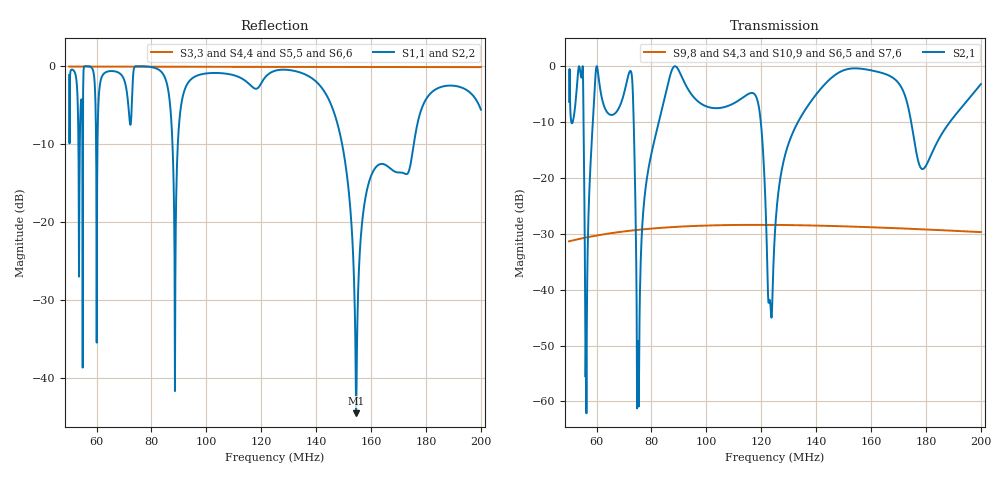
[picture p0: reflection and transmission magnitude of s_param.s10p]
! TOUCHSTONE file generated by CST MICROWAVE STUDIO
! Date and time: Mon Sep  2 13:02:55 2024
! Project name: MRI Body Coil 60cm 3T w phantom - wo meshrefiner - FD - Open Boundaries Add Space.cst
! Parameters = {C=17.8; C_tune_1=17.8; C_tune_2=17.8; Cs=9.73; L_tune=0; R_tune=40; Rs=1.09121; phantom_x_max=85; phantom_x_min=-85; phantom_y_max=-1.508; phantom_y_min=-31.508; phantom_z_max=360; phantom_z_min=240; state=21; state_2=8}
! Header version: 2024
! Port assignment regex: !\s*Touchstone port\s*([0-9]+)\s*=\s*(CST MWS port|CST DES external port|CST DES block port)\s*(.+)\s* \(\"(.*)\"\)(\s*mode\s*([0-9]+))?.*
! Touchstone port assignment:
! Touchstone port 1 = CST MWS port 1 ("")
! Touchstone port 2 = CST MWS port 5 ("")
! Touchstone port 3 = CST MWS port 10 ("")
! Touchstone port 4 = CST MWS port 11 ("")
! Touchstone port 5 = CST MWS port 12 ("")
! Touchstone port 6 = CST MWS port 13 ("")
! Touchstone port 7 = CST MWS port 14 ("")
! Touchstone port 8 = CST MWS port 15 ("")
! Touchstone port 9 = CST MWS port 16 ("")
! Touchstone port 10 = CST MWS port 17 ("")
# MHz S RI R 50
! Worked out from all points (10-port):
!   1001 points, 50 MHz to 200 MHz, reference 50 ohm
!   strongest paths, dB at 50 MHz, 87.5 MHz, 125 MHz, 162.5 MHz, 200 MHz:
!     S2,1: -6.4, -0.6, -29.6, -1.0, -3.2
!     S9,8: -31.3, -28.8, -28.4, -28.9, -29.7
!     S4,3: -31.3, -28.8, -28.4, -28.9, -29.7
!     S10,9: -31.4, -28.8, -28.4, -28.9, -29.7
!     S6,5: -31.4, -28.8, -28.4, -28.9, -29.7
!     S7,6: -31.4, -28.8, -28.4, -28.9, -29.7
!   lowest |S11| = -44.6 dB at 154.6 MHz (marker M1), VSWR 1.01, Z = 49.4 + j0.191 ohm
!   |S11| at or under -10 dB: 53.38 MHz to 53.9 MHz (515.7 kHz wide, 0.961 % of centre); 87.65 MHz to 89.6 MHz (1.946 MHz wide, 2.2 % of centre); 149.4 MHz to 175.6 MHz (26.11 MHz wide, 16.1 % of centre)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
